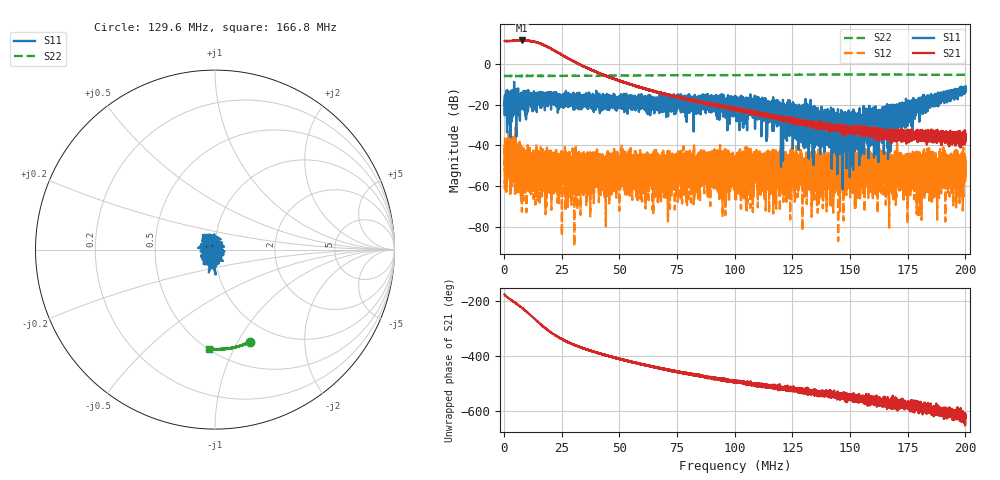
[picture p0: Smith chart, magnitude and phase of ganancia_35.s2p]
# Hz S DB R 50
! CMT, M5065, 19127446, 24.2.4/2
! Date: 11/8/2024 4:05:16 PM
! Data: Format (Calibration Info)
! Freq	S11:dB/Ang(F2)	S21:dB/Ang(F2)	S12:dB/Ang(F2)	S22:dB/Ang(F2)
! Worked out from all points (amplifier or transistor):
!   9000 points, 300 kHz to 200 MHz, reference 50 ohm
!   highest |S21| = 11.6 dB at 7.734 MHz (marker M1)
!   |S21| within 3 dB of that: start of sweep to 18.62 MHz
!   unconditionally stable (mu >= 1): start of sweep to end of sweep
!   at 33.59 MHz: K = 171.47, MAG = 0.8 dB, |S12| = -53.0 dB
!   at 100.2 MHz: K = 948.54, MAG = -20.4 dB, |S12| = -46.6 dB
!   at 200 MHz: K = 3328.10, MAG = -32.9 dB, |S12| = -45.3 dB
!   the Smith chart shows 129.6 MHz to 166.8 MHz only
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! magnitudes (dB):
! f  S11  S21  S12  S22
! 300 kHz  -19.0  11.4  -50.1  -5.8
! 2.43 MHz  -19.1  11.4  -43.8  -5.8
! 7.734 MHz  -17.9  11.6  -49.4  -5.8
! 16.52 MHz  -15.9  9.8  -52.4  -5.8
! 33.59 MHz  -18.3  -0.6  -53.0  -5.7
! 66.87 MHz  -23.0  -13.9  -44.2  -5.5
! 69.45 MHz  -23.3  -14.6  -50.0  -5.5
! 71.89 MHz  -15.6  -15.4  -48.7  -5.5
! 82.16 MHz  -19.4  -17.8  -48.9  -5.5
! 100.2 MHz  -21.0  -22.0  -46.6  -5.4
! 112.8 MHz  -26.1  -24.4  -61.9  -5.3
! 133.4 MHz  -32.4  -29.0  -53.4  -5.2
! 154.1 MHz  -29.3  -32.2  -56.4  -5.1
! 157.4 MHz  -27.2  -32.7  -54.9  -5.1
! 159.8 MHz  -31.1  -32.0  -44.5  -5.1
! 166.7 MHz  -29.6  -33.1  -66.4  -5.1
! 177.5 MHz  -25.0  -34.2  -48.6  -5.2
! 180.1 MHz  -16.9  -34.7  -52.8  -5.2
! 182.2 MHz  -16.9  -34.2  -47.3  -5.2
! 187.6 MHz  -15.7  -36.2  -53.0  -5.2
! 198.4 MHz  -13.7  -39.6  -46.7  -5.3
! 200 MHz  -13.1  -34.6  -45.3  -5.3
